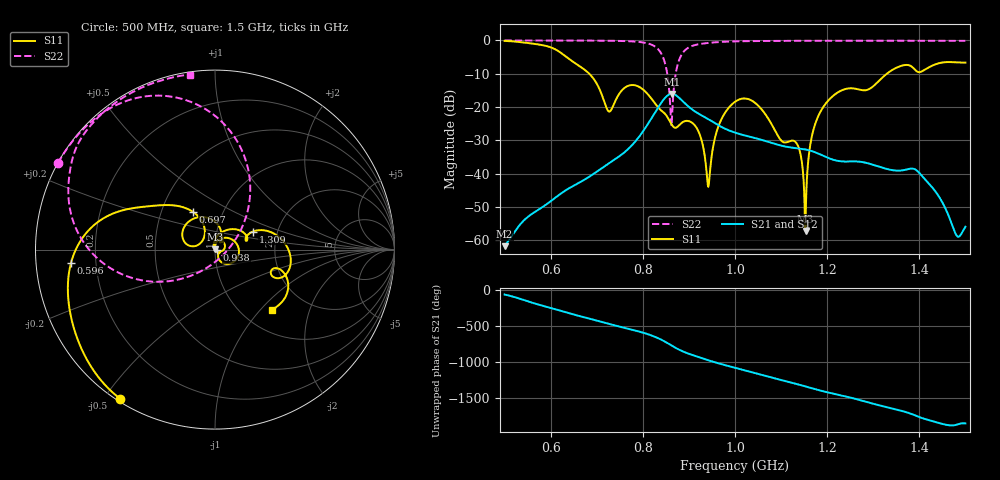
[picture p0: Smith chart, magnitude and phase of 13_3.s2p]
! TOUCHSTONE file generated by CST MICROWAVE STUDIO
! Date and time: Fri Oct 30 07:54:16 2020
! Project name: Scenario_1_Circular_Tissue_out_of_Line.cst
! Parameters = {dy1=-137.908; L_HA=400; MT=2.54; Rad_Dielectric=30; Rad_Lower=7.3; Rad_Upper=30; a_HA=580; a_WG=246; b_HA=500; b_WG=121; c_HA=0; c_WG=187; d_feed=85; dx1=520; h_feed=15; h_lower=18; h_upper=40}
! Header version: 2018
! Port assignment regex: !\s*Touchstone port\s*([0-9]+)\s*=\s*(CST MWS port|CST DS port)\s*([0-9]+|Zmin|Zmax)\s*\(\"(.*)\"\)(\s*mode\s*([0-9]+))?.*
! Touchstone port assignment:
! Touchstone port 1 = CST MWS port 1 ("")
! Touchstone port 2 = CST MWS port 2 ("")
# GHz S DB R 50
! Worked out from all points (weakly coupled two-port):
!   1001 points, 500 MHz to 1.5 GHz, reference 50 ohm
!   highest |S21| = -16.03 dB at 863 MHz (marker M1); lowest = -61.8 dB at 500 MHz (marker M2)
!   lowest |S11| = -57.2 dB at 1.153 GHz (marker M3), VSWR 1.00, Z = 49.9 + j0.0588 ohm
!   |S11| at or under -10 dB: 683.7 MHz to 1.33 GHz (645.8 MHz wide, 64.2 % of centre)
!   |S22| runs from -25.6 to 0.0 dB; largest |S21 - S12| = 2.5e-06
!   S11 on the Smith chart (normalised r, x): 500 MHz: 0.01, -0.55; 596 MHz: 0.11, -0.04; 697 MHz: 0.72, +0.32; 938 MHz: 1.02, -0.01; 1.309 GHz: 1.50, +0.32; 1.5 GHz: 1.36, -1.17
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0.5  -0.13 -122.3  -61.75 -63.8  -61.75 -63.8  -0.01 151.1
0.596  -1.88 -174.8  -48.67 116.6  -48.67 116.6  -0.02 144.4
0.667  -8.13 140.9  -42.31 -11.6  -42.31 -11.6  -0.04 138.4
0.697  -12.29 120.2  -39.68 -61.8  -39.68 -61.8  -0.06 135.3
0.726  -21.31 142.0  -36.90 -111.7  -36.90 -111.7  -0.09 131.7
0.776  -13.38 138.8  -31.51 166.7  -31.51 166.7  -0.28 122.0
0.834  -20.23 68.8  -19.96 45.4  -19.96 45.4  -2.76 88.3
0.863  -25.34 50.4  -16.03 -57.1  -16.03 -57.1  -23.99 -82.3
0.884  -24.77 54.0  -17.91 -128.9  -17.91 -128.9  -4.30 -171.5
0.919  -26.81 -4.8  -21.82 148.3  -21.82 148.3  -1.20 159.7
0.938  -39.04 -17.1  -23.31 108.4  -23.31 108.4  -0.81 153.0
0.967  -24.73 69.3  -25.68 51.8  -25.68 51.8  -0.47 146.4
1  -18.42 21.1  -27.66 -5.2  -27.66 -5.2  -0.28 140.9
1.132  -30.58 -36.9  -32.32 131.6  -32.32 131.6  -0.11 127.3
1.153  -57.16 154.9  -32.73 94.8  -32.73 94.8  -0.11 125.5
1.167  -28.66 98.6  -33.23 69.3  -33.23 69.3  -0.10 124.4
1.213  -16.62 50.6  -35.80 -5.3  -35.80 -5.3  -0.09 120.9
1.309  -12.59 25.4  -37.74 -161.9  -37.74 -161.9  -0.08 113.6
1.334  -9.54 16.3  -38.72 157.9  -38.72 157.9  -0.08 111.7
1.394  -9.22 -24.4  -38.98 41.8  -38.98 41.8  -0.10 107.0
1.481  -6.58 -42.3  -58.58 -79.0  -58.58 -79.0  -0.12 99.8
1.5  -6.65 -46.6  -55.92 -61.0  -55.93 -60.9  -0.13 98.1
